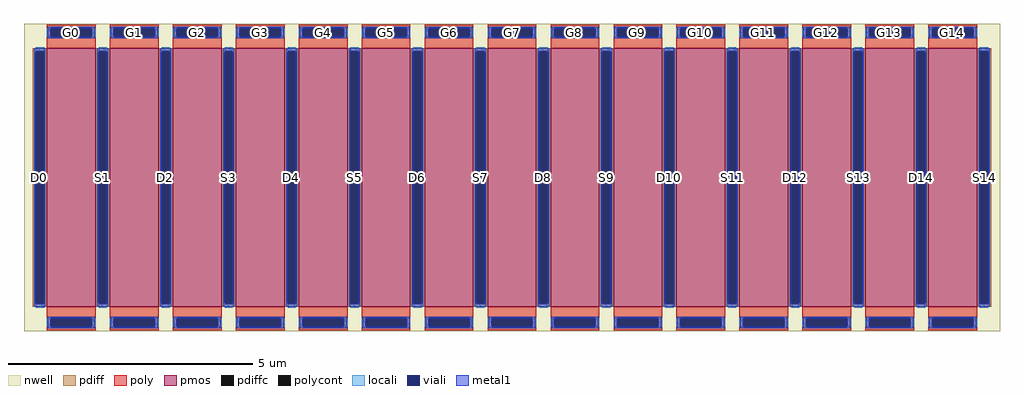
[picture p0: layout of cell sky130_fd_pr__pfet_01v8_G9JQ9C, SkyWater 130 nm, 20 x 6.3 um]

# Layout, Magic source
magic
tech sky130A
magscale 1 2
<< nwell >>
rect -2000 -630 2000 630
<< pmos >>
rect -1906 -530 -1706 530
rect -1648 -530 -1448 530
rect -1390 -530 -1190 530
rect -1132 -530 -932 530
rect -874 -530 -674 530
rect -616 -530 -416 530
rect -358 -530 -158 530
rect -100 -530 100 530
rect 158 -530 358 530
rect 416 -530 616 530
rect 674 -530 874 530
rect 932 -530 1132 530
rect 1190 -530 1390 530
rect 1448 -530 1648 530
rect 1706 -530 1906 530
<< pdiff >>
rect -1964 518 -1906 530
rect -1964 -518 -1952 518
rect -1918 -518 -1906 518
rect -1964 -530 -1906 -518
rect -1706 518 -1648 530
rect -1706 -518 -1694 518
rect -1660 -518 -1648 518
rect -1706 -530 -1648 -518
rect -1448 518 -1390 530
rect -1448 -518 -1436 518
rect -1402 -518 -1390 518
rect -1448 -530 -1390 -518
rect -1190 518 -1132 530
rect -1190 -518 -1178 518
rect -1144 -518 -1132 518
rect -1190 -530 -1132 -518
rect -932 518 -874 530
rect -932 -518 -920 518
rect -886 -518 -874 518
rect -932 -530 -874 -518
rect -674 518 -616 530
rect -674 -518 -662 518
rect -628 -518 -616 518
rect -674 -530 -616 -518
rect -416 518 -358 530
rect -416 -518 -404 518
rect -370 -518 -358 518
rect -416 -530 -358 -518
rect -158 518 -100 530
rect -158 -518 -146 518
rect -112 -518 -100 518
rect -158 -530 -100 -518
rect 100 518 158 530
rect 100 -518 112 518
rect 146 -518 158 518
rect 100 -530 158 -518
rect 358 518 416 530
rect 358 -518 370 518
rect 404 -518 416 518
rect 358 -530 416 -518
rect 616 518 674 530
rect 616 -518 628 518
rect 662 -518 674 518
rect 616 -530 674 -518
rect 874 518 932 530
rect 874 -518 886 518
rect 920 -518 932 518
rect 874 -530 932 -518
rect 1132 518 1190 530
rect 1132 -518 1144 518
rect 1178 -518 1190 518
rect 1132 -530 1190 -518
rect 1390 518 1448 530
rect 1390 -518 1402 518
rect 1436 -518 1448 518
rect 1390 -530 1448 -518
rect 1648 518 1706 530
rect 1648 -518 1660 518
rect 1694 -518 1706 518
rect 1648 -530 1706 -518
rect 1906 518 1964 530
rect 1906 -518 1918 518
rect 1952 -518 1964 518
rect 1906 -530 1964 -518
<< pdiffc >>
rect -1952 -518 -1918 518
rect -1694 -518 -1660 518
rect -1436 -518 -1402 518
rect -1178 -518 -1144 518
rect -920 -518 -886 518
rect -662 -518 -628 518
rect -404 -518 -370 518
rect -146 -518 -112 518
rect 112 -518 146 518
rect 370 -518 404 518
rect 628 -518 662 518
rect 886 -518 920 518
rect 1144 -518 1178 518
rect 1402 -518 1436 518
rect 1660 -518 1694 518
rect 1918 -518 1952 518
<< poly >>
rect -1906 611 -1706 627
rect -1906 577 -1890 611
rect -1722 577 -1706 611
rect -1906 530 -1706 577
rect -1648 611 -1448 627
rect -1648 577 -1632 611
rect -1464 577 -1448 611
rect -1648 530 -1448 577
rect -1390 611 -1190 627
rect -1390 577 -1374 611
rect -1206 577 -1190 611
rect -1390 530 -1190 577
rect -1132 611 -932 627
rect -1132 577 -1116 611
rect -948 577 -932 611
rect -1132 530 -932 577
rect -874 611 -674 627
rect -874 577 -858 611
rect -690 577 -674 611
rect -874 530 -674 577
rect -616 611 -416 627
rect -616 577 -600 611
rect -432 577 -416 611
rect -616 530 -416 577
rect -358 611 -158 627
rect -358 577 -342 611
rect -174 577 -158 611
rect -358 530 -158 577
rect -100 611 100 627
rect -100 577 -84 611
rect 84 577 100 611
rect -100 530 100 577
rect 158 611 358 627
rect 158 577 174 611
rect 342 577 358 611
rect 158 530 358 577
rect 416 611 616 627
rect 416 577 432 611
rect 600 577 616 611
rect 416 530 616 577
rect 674 611 874 627
rect 674 577 690 611
rect 858 577 874 611
rect 674 530 874 577
rect 932 611 1132 627
rect 932 577 948 611
rect 1116 577 1132 611
rect 932 530 1132 577
rect 1190 611 1390 627
rect 1190 577 1206 611
rect 1374 577 1390 611
rect 1190 530 1390 577
rect 1448 611 1648 627
rect 1448 577 1464 611
rect 1632 577 1648 611
rect 1448 530 1648 577
rect 1706 611 1906 627
rect 1706 577 1722 611
rect 1890 577 1906 611
rect 1706 530 1906 577
rect -1906 -577 -1706 -530
rect -1906 -611 -1890 -577
rect -1722 -611 -1706 -577
rect -1906 -627 -1706 -611
rect -1648 -577 -1448 -530
rect -1648 -611 -1632 -577
rect -1464 -611 -1448 -577
rect -1648 -627 -1448 -611
rect -1390 -577 -1190 -530
rect -1390 -611 -1374 -577
rect -1206 -611 -1190 -577
rect -1390 -627 -1190 -611
rect -1132 -577 -932 -530
rect -1132 -611 -1116 -577
rect -948 -611 -932 -577
rect -1132 -627 -932 -611
rect -874 -577 -674 -530
rect -874 -611 -858 -577
rect -690 -611 -674 -577
rect -874 -627 -674 -611
rect -616 -577 -416 -530
rect -616 -611 -600 -577
rect -432 -611 -416 -577
rect -616 -627 -416 -611
rect -358 -577 -158 -530
rect -358 -611 -342 -577
rect -174 -611 -158 -577
rect -358 -627 -158 -611
rect -100 -577 100 -530
rect -100 -611 -84 -577
rect 84 -611 100 -577
rect -100 -627 100 -611
rect 158 -577 358 -530
rect 158 -611 174 -577
rect 342 -611 358 -577
rect 158 -627 358 -611
rect 416 -577 616 -530
rect 416 -611 432 -577
rect 600 -611 616 -577
rect 416 -627 616 -611
rect 674 -577 874 -530
rect 674 -611 690 -577
rect 858 -611 874 -577
rect 674 -627 874 -611
rect 932 -577 1132 -530
rect 932 -611 948 -577
rect 1116 -611 1132 -577
rect 932 -627 1132 -611
rect 1190 -577 1390 -530
rect 1190 -611 1206 -577
rect 1374 -611 1390 -577
rect 1190 -627 1390 -611
rect 1448 -577 1648 -530
rect 1448 -611 1464 -577
rect 1632 -611 1648 -577
rect 1448 -627 1648 -611
rect 1706 -577 1906 -530
rect 1706 -611 1722 -577
rect 1890 -611 1906 -577
rect 1706 -627 1906 -611
<< polycont >>
rect -1890 577 -1722 611
rect -1632 577 -1464 611
rect -1374 577 -1206 611
rect -1116 577 -948 611
rect -858 577 -690 611
rect -600 577 -432 611
rect -342 577 -174 611
rect -84 577 84 611
rect 174 577 342 611
rect 432 577 600 611
rect 690 577 858 611
rect 948 577 1116 611
rect 1206 577 1374 611
rect 1464 577 1632 611
rect 1722 577 1890 611
rect -1890 -611 -1722 -577
rect -1632 -611 -1464 -577
rect -1374 -611 -1206 -577
rect -1116 -611 -948 -577
rect -858 -611 -690 -577
rect -600 -611 -432 -577
rect -342 -611 -174 -577
rect -84 -611 84 -577
rect 174 -611 342 -577
rect 432 -611 600 -577
rect 690 -611 858 -577
rect 948 -611 1116 -577
rect 1206 -611 1374 -577
rect 1464 -611 1632 -577
rect 1722 -611 1890 -577
<< locali >>
rect -1906 577 -1890 611
rect -1722 577 -1706 611
rect -1648 577 -1632 611
rect -1464 577 -1448 611
rect -1390 577 -1374 611
rect -1206 577 -1190 611
rect -1132 577 -1116 611
rect -948 577 -932 611
rect -874 577 -858 611
rect -690 577 -674 611
rect -616 577 -600 611
rect -432 577 -416 611
rect -358 577 -342 611
rect -174 577 -158 611
rect -100 577 -84 611
rect 84 577 100 611
rect 158 577 174 611
rect 342 577 358 611
rect 416 577 432 611
rect 600 577 616 611
rect 674 577 690 611
rect 858 577 874 611
rect 932 577 948 611
rect 1116 577 1132 611
rect 1190 577 1206 611
rect 1374 577 1390 611
rect 1448 577 1464 611
rect 1632 577 1648 611
rect 1706 577 1722 611
rect 1890 577 1906 611
rect -1952 518 -1918 534
rect -1952 -534 -1918 -518
rect -1694 518 -1660 534
rect -1694 -534 -1660 -518
rect -1436 518 -1402 534
rect -1436 -534 -1402 -518
rect -1178 518 -1144 534
rect -1178 -534 -1144 -518
rect -920 518 -886 534
rect -920 -534 -886 -518
rect -662 518 -628 534
rect -662 -534 -628 -518
rect -404 518 -370 534
rect -404 -534 -370 -518
rect -146 518 -112 534
rect -146 -534 -112 -518
rect 112 518 146 534
rect 112 -534 146 -518
rect 370 518 404 534
rect 370 -534 404 -518
rect 628 518 662 534
rect 628 -534 662 -518
rect 886 518 920 534
rect 886 -534 920 -518
rect 1144 518 1178 534
rect 1144 -534 1178 -518
rect 1402 518 1436 534
rect 1402 -534 1436 -518
rect 1660 518 1694 534
rect 1660 -534 1694 -518
rect 1918 518 1952 534
rect 1918 -534 1952 -518
rect -1906 -611 -1890 -577
rect -1722 -611 -1706 -577
rect -1648 -611 -1632 -577
rect -1464 -611 -1448 -577
rect -1390 -611 -1374 -577
rect -1206 -611 -1190 -577
rect -1132 -611 -1116 -577
rect -948 -611 -932 -577
rect -874 -611 -858 -577
rect -690 -611 -674 -577
rect -616 -611 -600 -577
rect -432 -611 -416 -577
rect -358 -611 -342 -577
rect -174 -611 -158 -577
rect -100 -611 -84 -577
rect 84 -611 100 -577
rect 158 -611 174 -577
rect 342 -611 358 -577
rect 416 -611 432 -577
rect 600 -611 616 -577
rect 674 -611 690 -577
rect 858 -611 874 -577
rect 932 -611 948 -577
rect 1116 -611 1132 -577
rect 1190 -611 1206 -577
rect 1374 -611 1390 -577
rect 1448 -611 1464 -577
rect 1632 -611 1648 -577
rect 1706 -611 1722 -577
rect 1890 -611 1906 -577
<< viali >>
rect -1890 577 -1722 611
rect -1632 577 -1464 611
rect -1374 577 -1206 611
rect -1116 577 -948 611
rect -858 577 -690 611
rect -600 577 -432 611
rect -342 577 -174 611
rect -84 577 84 611
rect 174 577 342 611
rect 432 577 600 611
rect 690 577 858 611
rect 948 577 1116 611
rect 1206 577 1374 611
rect 1464 577 1632 611
rect 1722 577 1890 611
rect -1952 -518 -1918 518
rect -1694 -518 -1660 518
rect -1436 -518 -1402 518
rect -1178 -518 -1144 518
rect -920 -518 -886 518
rect -662 -518 -628 518
rect -404 -518 -370 518
rect -146 -518 -112 518
rect 112 -518 146 518
rect 370 -518 404 518
rect 628 -518 662 518
rect 886 -518 920 518
rect 1144 -518 1178 518
rect 1402 -518 1436 518
rect 1660 -518 1694 518
rect 1918 -518 1952 518
rect -1890 -611 -1722 -577
rect -1632 -611 -1464 -577
rect -1374 -611 -1206 -577
rect -1116 -611 -948 -577
rect -858 -611 -690 -577
rect -600 -611 -432 -577
rect -342 -611 -174 -577
rect -84 -611 84 -577
rect 174 -611 342 -577
rect 432 -611 600 -577
rect 690 -611 858 -577
rect 948 -611 1116 -577
rect 1206 -611 1374 -577
rect 1464 -611 1632 -577
rect 1722 -611 1890 -577
<< metal1 >>
rect -1902 611 -1710 617
rect -1902 577 -1890 611
rect -1722 577 -1710 611
rect -1902 571 -1710 577
rect -1644 611 -1452 617
rect -1644 577 -1632 611
rect -1464 577 -1452 611
rect -1644 571 -1452 577
rect -1386 611 -1194 617
rect -1386 577 -1374 611
rect -1206 577 -1194 611
rect -1386 571 -1194 577
rect -1128 611 -936 617
rect -1128 577 -1116 611
rect -948 577 -936 611
rect -1128 571 -936 577
rect -870 611 -678 617
rect -870 577 -858 611
rect -690 577 -678 611
rect -870 571 -678 577
rect -612 611 -420 617
rect -612 577 -600 611
rect -432 577 -420 611
rect -612 571 -420 577
rect -354 611 -162 617
rect -354 577 -342 611
rect -174 577 -162 611
rect -354 571 -162 577
rect -96 611 96 617
rect -96 577 -84 611
rect 84 577 96 611
rect -96 571 96 577
rect 162 611 354 617
rect 162 577 174 611
rect 342 577 354 611
rect 162 571 354 577
rect 420 611 612 617
rect 420 577 432 611
rect 600 577 612 611
rect 420 571 612 577
rect 678 611 870 617
rect 678 577 690 611
rect 858 577 870 611
rect 678 571 870 577
rect 936 611 1128 617
rect 936 577 948 611
rect 1116 577 1128 611
rect 936 571 1128 577
rect 1194 611 1386 617
rect 1194 577 1206 611
rect 1374 577 1386 611
rect 1194 571 1386 577
rect 1452 611 1644 617
rect 1452 577 1464 611
rect 1632 577 1644 611
rect 1452 571 1644 577
rect 1710 611 1902 617
rect 1710 577 1722 611
rect 1890 577 1902 611
rect 1710 571 1902 577
rect -1958 518 -1912 530
rect -1958 -518 -1952 518
rect -1918 -518 -1912 518
rect -1958 -530 -1912 -518
rect -1700 518 -1654 530
rect -1700 -518 -1694 518
rect -1660 -518 -1654 518
rect -1700 -530 -1654 -518
rect -1442 518 -1396 530
rect -1442 -518 -1436 518
rect -1402 -518 -1396 518
rect -1442 -530 -1396 -518
rect -1184 518 -1138 530
rect -1184 -518 -1178 518
rect -1144 -518 -1138 518
rect -1184 -530 -1138 -518
rect -926 518 -880 530
rect -926 -518 -920 518
rect -886 -518 -880 518
rect -926 -530 -880 -518
rect -668 518 -622 530
rect -668 -518 -662 518
rect -628 -518 -622 518
rect -668 -530 -622 -518
rect -410 518 -364 530
rect -410 -518 -404 518
rect -370 -518 -364 518
rect -410 -530 -364 -518
rect -152 518 -106 530
rect -152 -518 -146 518
rect -112 -518 -106 518
rect -152 -530 -106 -518
rect 106 518 152 530
rect 106 -518 112 518
rect 146 -518 152 518
rect 106 -530 152 -518
rect 364 518 410 530
rect 364 -518 370 518
rect 404 -518 410 518
rect 364 -530 410 -518
rect 622 518 668 530
rect 622 -518 628 518
rect 662 -518 668 518
rect 622 -530 668 -518
rect 880 518 926 530
rect 880 -518 886 518
rect 920 -518 926 518
rect 880 -530 926 -518
rect 1138 518 1184 530
rect 1138 -518 1144 518
rect 1178 -518 1184 518
rect 1138 -530 1184 -518
rect 1396 518 1442 530
rect 1396 -518 1402 518
rect 1436 -518 1442 518
rect 1396 -530 1442 -518
rect 1654 518 1700 530
rect 1654 -518 1660 518
rect 1694 -518 1700 518
rect 1654 -530 1700 -518
rect 1912 518 1958 530
rect 1912 -518 1918 518
rect 1952 -518 1958 518
rect 1912 -530 1958 -518
rect -1902 -577 -1710 -571
rect -1902 -611 -1890 -577
rect -1722 -611 -1710 -577
rect -1902 -617 -1710 -611
rect -1644 -577 -1452 -571
rect -1644 -611 -1632 -577
rect -1464 -611 -1452 -577
rect -1644 -617 -1452 -611
rect -1386 -577 -1194 -571
rect -1386 -611 -1374 -577
rect -1206 -611 -1194 -577
rect -1386 -617 -1194 -611
rect -1128 -577 -936 -571
rect -1128 -611 -1116 -577
rect -948 -611 -936 -577
rect -1128 -617 -936 -611
rect -870 -577 -678 -571
rect -870 -611 -858 -577
rect -690 -611 -678 -577
rect -870 -617 -678 -611
rect -612 -577 -420 -571
rect -612 -611 -600 -577
rect -432 -611 -420 -577
rect -612 -617 -420 -611
rect -354 -577 -162 -571
rect -354 -611 -342 -577
rect -174 -611 -162 -577
rect -354 -617 -162 -611
rect -96 -577 96 -571
rect -96 -611 -84 -577
rect 84 -611 96 -577
rect -96 -617 96 -611
rect 162 -577 354 -571
rect 162 -611 174 -577
rect 342 -611 354 -577
rect 162 -617 354 -611
rect 420 -577 612 -571
rect 420 -611 432 -577
rect 600 -611 612 -577
rect 420 -617 612 -611
rect 678 -577 870 -571
rect 678 -611 690 -577
rect 858 -611 870 -577
rect 678 -617 870 -611
rect 936 -577 1128 -571
rect 936 -611 948 -577
rect 1116 -611 1128 -577
rect 936 -617 1128 -611
rect 1194 -577 1386 -571
rect 1194 -611 1206 -577
rect 1374 -611 1386 -577
rect 1194 -617 1386 -611
rect 1452 -577 1644 -571
rect 1452 -611 1464 -577
rect 1632 -611 1644 -577
rect 1452 -617 1644 -611
rect 1710 -577 1902 -571
rect 1710 -611 1722 -577
rect 1890 -611 1902 -577
rect 1710 -617 1902 -611
<< labels >>
rlabel pdiffc -1935 0 -1935 0 0 D0
port 1 nsew
rlabel polycont -1806 594 -1806 594 0 G0
port 2 nsew
rlabel pdiffc -1677 0 -1677 0 0 S1
port 3 nsew
rlabel polycont -1548 594 -1548 594 0 G1
port 4 nsew
rlabel pdiffc -1419 0 -1419 0 0 D2
port 5 nsew
rlabel polycont -1290 594 -1290 594 0 G2
port 6 nsew
rlabel pdiffc -1161 0 -1161 0 0 S3
port 7 nsew
rlabel polycont -1032 594 -1032 594 0 G3
port 8 nsew
rlabel pdiffc -903 0 -903 0 0 D4
port 9 nsew
rlabel polycont -774 594 -774 594 0 G4
port 10 nsew
rlabel pdiffc -645 0 -645 0 0 S5
port 11 nsew
rlabel polycont -516 594 -516 594 0 G5
port 12 nsew
rlabel pdiffc -387 0 -387 0 0 D6
port 13 nsew
rlabel polycont -258 594 -258 594 0 G6
port 14 nsew
rlabel pdiffc -129 0 -129 0 0 S7
port 15 nsew
rlabel polycont 0 594 0 594 0 G7
port 16 nsew
rlabel pdiffc 129 0 129 0 0 D8
port 17 nsew
rlabel polycont 258 594 258 594 0 G8
port 18 nsew
rlabel pdiffc 387 0 387 0 0 S9
port 19 nsew
rlabel polycont 516 594 516 594 0 G9
port 20 nsew
rlabel pdiffc 645 0 645 0 0 D10
port 21 nsew
rlabel polycont 774 594 774 594 0 G10
port 22 nsew
rlabel pdiffc 903 0 903 0 0 S11
port 23 nsew
rlabel polycont 1032 594 1032 594 0 G11
port 24 nsew
rlabel pdiffc 1161 0 1161 0 0 D12
port 25 nsew
rlabel polycont 1290 594 1290 594 0 G12
port 26 nsew
rlabel pdiffc 1419 0 1419 0 0 S13
port 27 nsew
rlabel polycont 1548 594 1548 594 0 G13
port 28 nsew
rlabel pdiffc 1677 0 1677 0 0 D14
port 29 nsew
rlabel pdiffc 1935 0 1935 0 0 S14
port 30 nsew
rlabel polycont 1806 594 1806 594 0 G14
port 31 nsew
<< properties >>
string gencell sky130_fd_pr__pfet_01v8
string library sky130
string parameters w 5.3 l 1 m 1 nf 15 diffcov 100 polycov 100 guard 0 glc 0 grc 0 gtc 0 gbc 0 tbcov 100 rlcov 100 topc 1 botc 1 poverlap 0 doverlap 1 lmin 0.15 wmin 0.42 class mosfet compatible {sky130_fd_pr__pfet_01v8  sky130_fd_pr__pfet_01v8_lvt sky130_fd_pr__pfet_01v8_hvt  sky130_fd_pr__pfet_g5v0d10v5} full_metal 0 conn_gates 0 viasrc 100 viadrn 100 viagate 100 viagb 0 viagr 0 viagl 0 viagt 0 doports 1
<< end >>
